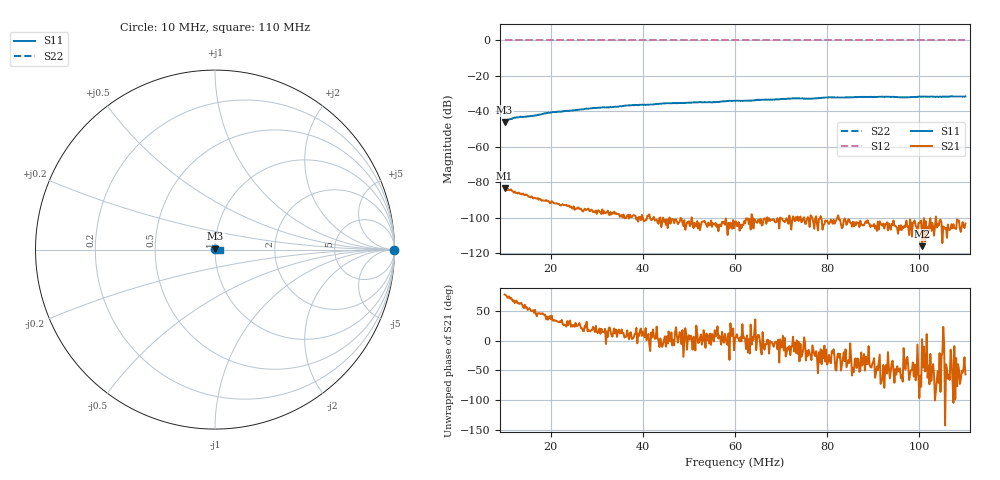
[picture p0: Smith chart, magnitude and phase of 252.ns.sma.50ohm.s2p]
! Anritsu VNA Master:  Model: MS2036C/10/77
! SN:  1601066
! /card0/usr/ns.50ohm.s2p
! Existing Calibration Information:
! TYPE:  Current Settings,  Active Cal Settings
! TIME:  12/21/2017 04:56:03 PM,  12/21/2017 04:46:01 PM
! INTERNAL TEMP:  40.8 C,  41.5 C
! # POINTS:  501,  501
! START FREQ:  10.000 MHz,  10.000 MHz
! STOP FREQ:  110.000 MHz,  110.000 MHz
! SOURCE POWER:  High,  High
! IFBW:  100 Hz,  100 Hz
! AVG FACTOR:  1 ,  1
! REF PLANE 1:  0 mm,  0 mm
! REF PLANE 2:  0 mm,  0 mm
! CAL TYPE:  Full S11,  Full S11
! CAL METHOD:  SOLT,  SOLT
! CAL LINE TYPE:  Coax,  Coax
! DUT PORT 1:  K-Conn(F),  K-Conn(F)
! DUT PORT 2:  K-Conn(F),  K-Conn(F)
! CAL STATUS:  OK: Accuracy High,  --
# GHZ S DB R 50.0
! FREQ.GHZ  S11DB  S11A  S21DB  S21A  S12DB  S12A  S22DB  S22A
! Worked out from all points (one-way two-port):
!   501 points, 10 MHz to 110 MHz, reference 50 ohm
!   highest |S21| = -83.21 dB at 10 MHz (marker M1); lowest = -115.9 dB at 100.6 MHz (marker M2)
!   lowest |S11| = -46.0 dB at 10 MHz (marker M3), VSWR 1.01, Z = 50.2 + j0.465 ohm
!   |S11| at or under -10 dB: start of sweep to end of sweep
!   |S22| runs from 0.0 to 0.0 dB; largest |S21 - S12| = 1
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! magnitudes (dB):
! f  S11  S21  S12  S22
! 10 MHz  -46.0  -83.2  0.0  0.0
! 10.6 MHz  -44.7  -84.3  0.0  0.0
! 12.2 MHz  -43.5  -85.2  0.0  0.0
! 16.4 MHz  -42.4  -88.6  0.0  0.0
! 20.6 MHz  -40.3  -91.5  0.0  0.0
! 26.8 MHz  -38.8  -96.0  0.0  0.0
! 29 MHz  -38.2  -95.6  0.0  0.0
! 33.2 MHz  -37.6  -98.0  0.0  0.0
! 37.4 MHz  -36.6  -99.4  0.0  0.0
! 41 MHz  -36.2  -98.7  0.0  0.0
! 43.4 MHz  -35.7  -103.3  0.0  0.0
! 52 MHz  -34.9  -106.0  0.0  0.0
! 55.2 MHz  -34.8  -102.9  0.0  0.0
! 60 MHz  -34.0  -102.1  0.0  0.0
! 63.4 MHz  -33.9  -106.6  0.0  0.0
! 72.6 MHz  -32.6  -99.1  0.0  0.0
! 76.8 MHz  -32.8  -100.1  0.0  0.0
! 80.2 MHz  -32.1  -102.8  0.0  0.0
! 93.4 MHz  -31.7  -103.1  0.0  0.0
! 97.2 MHz  -32.1  -101.5  0.0  0.0
! 100.6 MHz  -31.7  -115.9  0.0  0.0
! 110 MHz  -31.5  -103.2  0.0  0.0
